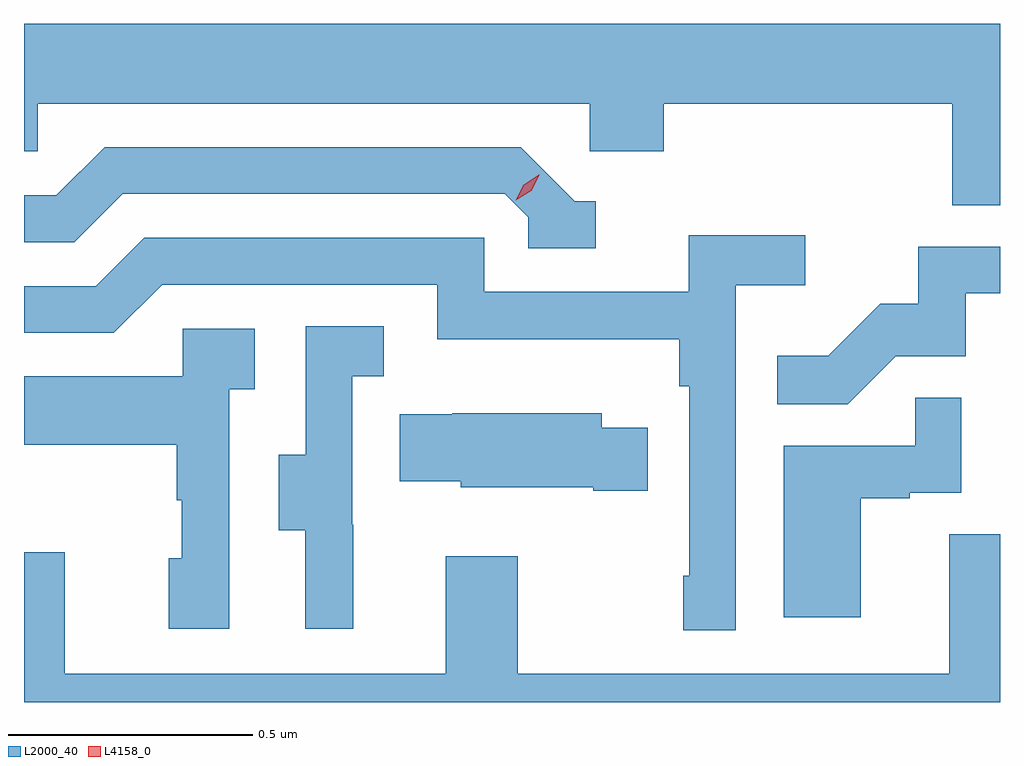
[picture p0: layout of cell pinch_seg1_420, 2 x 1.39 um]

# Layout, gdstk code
import gdstk
lib = gdstk.Library(unit=1e-6, precision=1e-09)
def P(c, l, *ps):  # polygons
    for p in ps: c.add(gdstk.Polygon(p, *l))
L2000_40 = (2000, 40)
L4158_0 = (4158, 0)

pinch_seg1_420 = lib.new_cell('pinch_seg1_420')
P(pinch_seg1_420, L2000_40, [(950.557,530.584),(948.557,530.584),(948.557,530.322),(948.585,530.322),(948.585,530.42),(949.716,530.42),(949.716,530.322),(949.868,530.322),(949.868,530.42),(950.459,530.42),(950.459,530.212),(950.557,530.212)],
  [(949.729,530.22),(949.686,530.22),(949.575,530.331),(948.722,530.331),(948.623,530.232),(948.557,530.232),(948.557,530.136),(948.66,530.136),(948.759,530.235),(949.542,530.235),(949.59,530.187),(949.59,530.124),(949.729,530.124)],
  [(950.016,530.048),(950.158,530.048),(950.158,530.15),(949.919,530.15),(949.919,530.034),(949.5,530.034),(949.5,530.145),(948.803,530.145),(948.704,530.046),(948.557,530.046),(948.557,529.95),(948.741,529.95),(948.84,530.049),(949.404,530.049),(949.404,529.937),(949.9,529.937),(949.9,529.841),(949.92,529.841),(949.92,529.453),(949.908,529.453),(949.908,529.341),(950.016,529.341)],
  [(950.343,529.902),(950.487,529.902),(950.487,530.031),(950.557,530.031),(950.557,530.127),(950.389,530.127),(950.389,530.01),(950.312,530.01),(950.205,529.903),(950.101,529.903),(950.101,529.804),(950.245,529.804)],
  [(949.232,529.557),(949.23,529.557),(949.23,529.861),(949.294,529.861),(949.294,529.964),(949.134,529.964),(949.134,529.701),(949.079,529.701),(949.079,529.546),(949.133,529.546),(949.133,529.344),(949.232,529.344)],
  [(948.978,529.835),(949.03,529.835),(949.03,529.959),(948.882,529.959),(948.882,529.861),(948.557,529.861),(948.557,529.721),(948.87,529.721),(948.87,529.607),(948.88,529.607),(948.88,529.488),(948.854,529.488),(948.854,529.344),(948.978,529.344)],
  [(950.272,529.611),(950.372,529.611),(950.372,529.623),(950.478,529.623),(950.478,529.817),(950.383,529.817),(950.383,529.719),(950.114,529.719),(950.114,529.368),(950.272,529.368)],
  [(949.835,529.756),(949.741,529.756),(949.741,529.786),(949.435,529.786),(949.435,529.783),(949.327,529.783),(949.327,529.646),(949.452,529.646),(949.452,529.634),(949.724,529.634),(949.724,529.627),(949.835,529.627)],
  [(950.557,529.538),(950.453,529.538),(950.453,529.252),(949.569,529.252),(949.569,529.492),(949.421,529.492),(949.421,529.252),(948.641,529.252),(948.641,529.501),(948.557,529.501),(948.557,529.193),(950.557,529.193)])
P(pinch_seg1_420, L4158_0, [(949.565,530.222),(949.565,530.222),(949.581,530.254),(949.612,530.274),(949.613,530.274),(949.613,530.273),(949.596,530.241),(949.565,530.222)])

lib.write_gds('pinch_seg1_420.gds')
